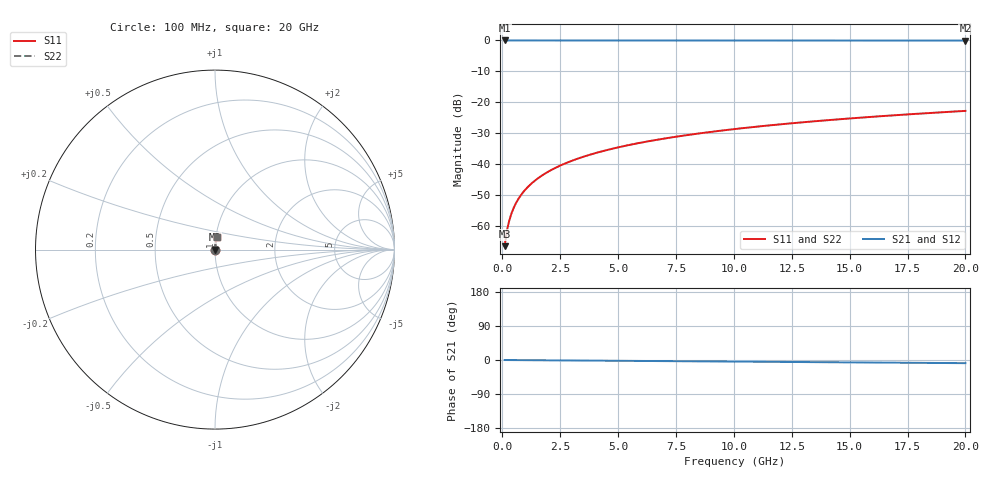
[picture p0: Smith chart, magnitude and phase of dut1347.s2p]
! Touchstone file exported from HFSS 2026.1.0
!  File:  C:/ffzhzh/LocalFiles/Ansys_Project_Files/temp_train_TSV_1347_1783195701_55132.aedt
!  Generated:  04:10:10 AM Jul  5, 2026
!  Design:  TSV
!  Project:  temp_train_TSV_1347_1783195701_55132
! Variables:
!  h_bsmrdl = 2um
!  h_ox = 20um
!  h_rdl = 5um
!  h_sub = 66.17um
!  h_tmrdl = 5um
!  h_tsv = 66.17um
!  h_via = 3um
!  l_bsmrdl = 300um
!  l_sub = 411.76um
!  l_tmrdl = 200um
!  m_sub = 200um
!  pitch = 51.78um
!  r_tsv = 5.88um
!  s_tmrdl = 10um
!  w_bsmrdl = 18um
!  w_sub = 500um
!  w_tmrdl = 12um
!  x_tsv_center1 = 206um
!  x_tsv_center2 = 524um
!  x_tsv_center3 = 736um
!  x_tsv_center4 = 1054um
!  x_tsv_center5 = 1266um
!  x_tsv_center6 = 1584um
# GHz S MA R 50.000000
! Terminal data exported
! Port[1] = TSV1_1_T1
! Port[2] = TSV1_1_T2
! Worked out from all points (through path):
!   200 points, 100 MHz to 20 GHz, reference 50 ohm
!   highest |S21| = 0.00 dB at 100 MHz (marker M1); lowest = 0.0 dB at 20 GHz (marker M2)
!   group delay of S21, straight-line fit = 1.16 ps
!   lowest |S11| = -66.5 dB at 100 MHz (marker M3), VSWR 1.00, Z = 50 + j0.0403 ohm
!   |S11| at or under -10 dB: start of sweep to end of sweep
!   |S22| runs from -66.5 to -22.8 dB; largest |S21 - S12| = 3e-15
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0.1  0.0004756 57.9  0.9997 -0.0  0.9997 -0.0  0.0004756 57.9
! Gamma 0 0 0 0
! Port Impedance 50 0 50 0
0.2  0.0008452 71.9  0.9997 -0.1  0.9997 -0.1  0.0008452 71.9
0.3  0.001233 77.0  0.9997 -0.1  0.9997 -0.1  0.001233 77.0
0.4  0.001622 79.5  0.9997 -0.2  0.9997 -0.2  0.001622 79.5
0.5  0.002009 81.0  0.9997 -0.2  0.9997 -0.2  0.002009 81.0
0.6  0.002394 82.0  0.9997 -0.3  0.9997 -0.3  0.002394 82.0
0.7  0.002776 82.6  0.9997 -0.3  0.9997 -0.3  0.002776 82.6
0.8  0.003156 83.1  0.9996 -0.3  0.9996 -0.3  0.003156 83.1
1  0.003912 83.9  0.9996 -0.4  0.9996 -0.4  0.003912 83.9
1.4  0.005413 84.8  0.9995 -0.6  0.9995 -0.6  0.005413 84.8
1.7  0.006535 85.1  0.9995 -0.7  0.9995 -0.7  0.006535 85.1
2  0.007655 85.4  0.9995 -0.9  0.9995 -0.9  0.007655 85.4
2.7  0.01026 85.7  0.9994 -1.1  0.9994 -1.1  0.01026 85.7
3.5  0.01323 85.7  0.9993 -1.5  0.9993 -1.5  0.01323 85.7
4.2  0.01581 85.6  0.9992 -1.8  0.9992 -1.8  0.01581 85.6
5  0.01875 85.5  0.999 -2.1  0.999 -2.1  0.01875 85.5
6.8  0.02532 85.0  0.9988 -2.9  0.9988 -2.9  0.02532 85.0
8.3  0.03077 84.6  0.9985 -3.5  0.9985 -3.5  0.03077 84.6
10.1  0.0373 84.0  0.9982 -4.2  0.9982 -4.2  0.0373 84.0
13.4  0.04921 82.9  0.9975 -5.6  0.9975 -5.6  0.04921 82.9
16.7  0.06105 81.7  0.9967 -7.0  0.9967 -7.0  0.06105 81.7
20  0.0728 80.4  0.9958 -8.3  0.9958 -8.3  0.0728 80.4
